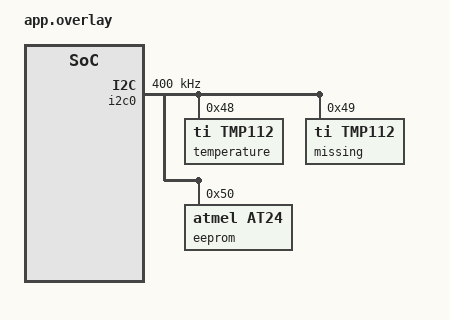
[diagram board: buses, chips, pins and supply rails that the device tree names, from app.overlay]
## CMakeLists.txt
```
cmake_minimum_required(VERSION 3.20.0)
find_package(Zephyr REQUIRED HINTS $ENV{ZEPHYR_BASE})
project(zephyr_i2c)

target_sources(app PRIVATE src/main.c)
```

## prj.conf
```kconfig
CONFIG_SYS_CLOCK_TICKS_PER_SEC=1000
CONFIG_BOOT_BANNER=n
CONFIG_I2C=y
CONFIG_SENSOR=y
CONFIG_EEPROM=y
```

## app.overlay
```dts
/*
 * Parts on the costar shield's I2C controller, i2c0 (the board's channel
 * "i2c0", IRQ 12), with Zephyr's own drivers.  The scenario's models answer
 * for them; nothing answers 0x49.
 */
&i2c0 {
	clock-frequency = <400000>;
	zephyr,transfer-timeout-ms = <10>;

	temperature: tmp112@48 {
		compatible = "ti,tmp112";
		reg = <0x48>;
	};

	missing: tmp112@49 {
		compatible = "ti,tmp112";
		reg = <0x49>;
	};

	eeprom: eeprom@50 {
		compatible = "atmel,at24";
		reg = <0x50>;
		size = <256>;
		pagesize = <8>;
		address-width = <8>;
		timeout = <5>;
	};
};
```

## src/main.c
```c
/*
 * A temperature logger: an ordinary Zephyr application whose parts sit on
 * an I2C bus (see app.overlay), driven by Zephyr's own ti,tmp112 sensor and
 * atmel,at24 EEPROM drivers on costar's I2C controller.  On the host, the
 * scenario's device models answer for the parts.
 *
 * At boot the app reads a greeting from the EEPROM and writes a line that
 * spans three of its pages (the driver waits out each page's write cycle by
 * polling: the EEPROM NACKs while it is busy).  Then it reads the
 * temperature every 100 ms and logs each reading in the EEPROM, and reads
 * the log back.
 *
 * Finally it reads the EEPROM through the I2C API itself, twice, while the
 * scenario delays its requests on the wire past the bus's transfer timeout
 * (10 ms, in app.overlay): the first by 15 ms, the second by 8.  The first
 * read times out, and its late reply arrives while the second waits, which
 * must not take it for its own.
 */
#include <stdlib.h>
#include <string.h>

#include <zephyr/device.h>
#include <zephyr/drivers/eeprom.h>
#include <zephyr/drivers/i2c.h>
#include <zephyr/drivers/sensor.h>
#include <zephyr/kernel.h>
#include <zephyr/sys/byteorder.h>
#include <zephyr/sys/printk.h>

#define READINGS 6
#define LOG_OFFSET 0x80

static const struct device *const temperature = DEVICE_DT_GET(DT_NODELABEL(temperature));
static const struct device *const missing = DEVICE_DT_GET(DT_NODELABEL(missing));
static const struct device *const eeprom = DEVICE_DT_GET(DT_NODELABEL(eeprom));
static const struct i2c_dt_spec eeprom_i2c = I2C_DT_SPEC_GET(DT_NODELABEL(eeprom));

static void greet(void)
{
	static const char line[] = "written by zephyr!!";
	char text[sizeof(line)] = {0};
	int ret;

	ret = eeprom_read(eeprom, 0, text, 5);
	printk("eeprom says \"%s\" (%d)\n", text, ret);

	ret = eeprom_write(eeprom, 4, line, sizeof(line));
	printk("wrote %zu bytes at 4 (%d) by %u ms\n", sizeof(line), ret, k_uptime_get_32());
	memset(text, 0, sizeof(text));
	ret = eeprom_read(eeprom, 4, text, sizeof(text));
	printk("read back \"%s\" (%d)\n", text, ret);
}

int main(void)
{
	printk("tmp112@48 ready %d, tmp112@49 ready %d, eeprom ready %d (%zu bytes)\n",
	       device_is_ready(temperature), device_is_ready(missing), device_is_ready(eeprom),
	       eeprom_get_size(eeprom));
	greet();

	for (int i = 0; i < READINGS; i++) {
		struct sensor_value value;
		int ret;

		k_sleep(K_TIMEOUT_ABS_MS(100 * (i + 1)));
		ret = sensor_sample_fetch(temperature);
		if (ret != 0) {
			printk("%u ms: fetch failed (%d)\n", k_uptime_get_32(), ret);
			continue;
		}
		sensor_channel_get(temperature, SENSOR_CHAN_AMBIENT_TEMP, &value);

		const int32_t milli = (int32_t)sensor_value_to_milli(&value);
		uint8_t bytes[2];

		printk("%u ms: %d.%03d C\n", k_uptime_get_32(), milli / 1000, abs(milli % 1000));
		sys_put_be16((uint16_t)(milli / 100), bytes); /* tenths of a degree */
		eeprom_write(eeprom, LOG_OFFSET + 2 * i, bytes, sizeof(bytes));
	}

	uint8_t log[2 * READINGS];

	eeprom_read(eeprom, LOG_OFFSET, log, sizeof(log));
	printk("log:");
	for (int i = 0; i < READINGS; i++) {
		printk(" %d", (int16_t)sys_get_be16(&log[2 * i]));
	}
	printk("\n");

	k_sleep(K_TIMEOUT_ABS_MS(700));
	for (uint8_t offset = 0; offset <= 4; offset += 4) {
		char text[5] = {0};
		const int ret = i2c_write_read_dt(&eeprom_i2c, &offset, 1, text, 4);

		printk("%u ms: read \"%s\" at %u (%d)\n", k_uptime_get_32(), text, offset, ret);
	}
	return 0;
}
```
